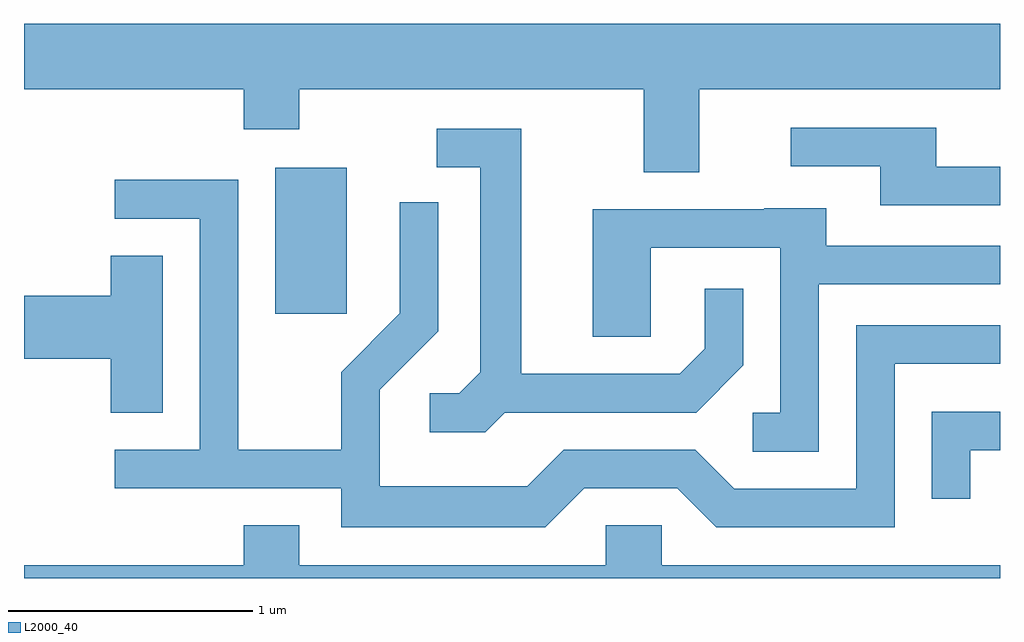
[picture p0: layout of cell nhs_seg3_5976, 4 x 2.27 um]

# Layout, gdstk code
import gdstk
lib = gdstk.Library(unit=1e-6, precision=1e-09)
def R(c, l, rs):  # rectangles x0, y0, x1, y1
    for r in rs: c.add(gdstk.rectangle(r[:2], r[2:], *l))
def P(c, l, *ps):  # polygons
    for p in ps: c.add(gdstk.Polygon(p, *l))
L2000_40 = (2000, 40)

nhs_seg3_5976 = lib.new_cell('nhs_seg3_5976')
R(nhs_seg3_5976, L2000_40, [(360.641,1244.976,360.934,1245.574)])
P(nhs_seg3_5976, L2000_40, [(362.379,1245.896),(363.611,1245.896),(363.611,1246.164),(359.611,1246.164),(359.611,1245.896),(360.511,1245.896),(360.511,1245.731),(360.739,1245.731),(360.739,1245.896),(362.151,1245.896),(362.151,1245.556),(362.379,1245.556)],
  [(363.611,1245.579),(363.349,1245.579),(363.349,1245.739),(362.753,1245.739),(362.753,1245.581),(363.121,1245.581),(363.121,1245.421),(363.611,1245.421)],
  [(361.582,1244.571),(362.367,1244.571),(362.559,1244.764),(362.559,1245.078),(362.401,1245.078),(362.401,1244.832),(362.299,1244.729),(361.649,1244.729),(361.649,1245.734),(361.303,1245.734),(361.303,1245.576),(361.481,1245.576),(361.481,1244.737),(361.394,1244.649),(361.273,1244.649),(361.273,1244.491),(361.502,1244.491)],
  [(361.907,1244.261),(362.289,1244.261),(362.449,1244.101),(363.179,1244.101),(363.179,1244.771),(363.611,1244.771),(363.611,1244.929),(363.021,1244.929),(363.021,1244.259),(362.522,1244.259),(362.362,1244.419),(361.824,1244.419),(361.674,1244.269),(361.069,1244.269),(361.069,1244.664),(361.309,1244.904),(361.309,1245.433),(361.151,1245.433),(361.151,1244.977),(360.911,1244.737),(360.911,1244.419),(360.489,1244.419),(360.489,1245.524),(359.983,1245.524),(359.983,1245.366),(360.331,1245.366),(360.331,1244.419),(359.983,1244.419),(359.983,1244.261),(360.911,1244.261),(360.911,1244.101),(361.747,1244.101)],
  [(362.869,1245.096),(363.611,1245.096),(363.611,1245.254),(362.899,1245.254),(362.899,1245.409),(362.645,1245.409),(362.645,1245.404),(361.941,1245.404),(361.941,1244.881),(362.179,1244.881),(362.179,1245.246),(362.711,1245.246),(362.711,1244.569),(362.598,1244.569),(362.598,1244.411),(362.869,1244.411)],
  [(360.179,1245.214),(359.966,1245.214),(359.966,1245.049),(359.611,1245.049),(359.611,1244.791),(359.966,1244.791),(359.966,1244.571),(360.179,1244.571)],
  [(363.489,1244.416),(363.611,1244.416),(363.611,1244.574),(363.331,1244.574),(363.331,1244.218),(363.489,1244.218)],
  [(363.611,1243.944),(362.224,1243.944),(362.224,1244.109),(361.996,1244.109),(361.996,1243.944),(360.739,1243.944),(360.739,1244.109),(360.511,1244.109),(360.511,1243.944),(359.611,1243.944),(359.611,1243.892),(363.611,1243.892)])

lib.write_gds('nhs_seg3_5976.gds')
